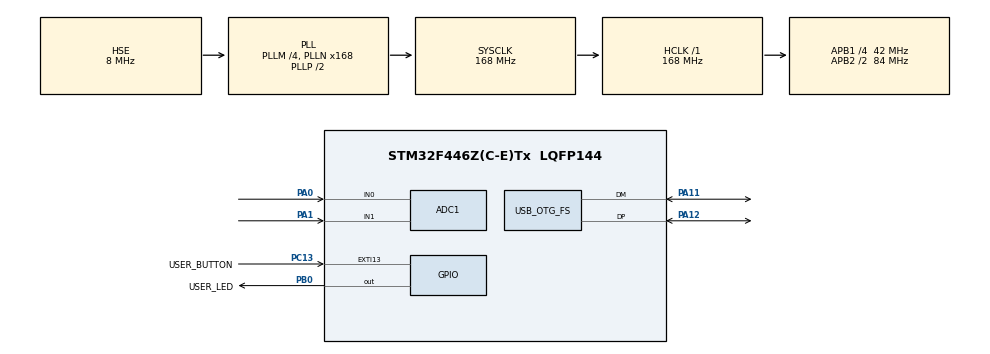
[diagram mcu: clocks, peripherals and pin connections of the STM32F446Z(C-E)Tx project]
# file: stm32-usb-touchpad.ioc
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ADC1.Channel-1\#ChannelRegularConversion=ADC_CHANNEL_0
ADC1.NbrOfConversionFlag=1
ADC1.Rank-1\#ChannelRegularConversion=1
ADC1.SamplingTime-1\#ChannelRegularConversion=ADC_SAMPLETIME_3CYCLES
ADC1.master=1
Mcu.Family=STM32F4
Mcu.Name=STM32F446Z(C-E)Tx
Mcu.Package=LQFP144
NVIC.OTG_FS_IRQn=true\:0\:0\:false\:false\:true\:false\:true\:true
NVIC.PriorityGroup=NVIC_PRIORITYGROUP_4
PA0-WKUP.Signal=ADCx_IN0
PA1.Signal=ADCx_IN1
PA11.Mode=Device_Only
PA11.Signal=USB_OTG_FS_DM
PA12.Mode=Device_Only
PA12.Signal=USB_OTG_FS_DP
PA13.Mode=Serial_Wire
PA13.Signal=SYS_JTMS-SWDIO
PA14.Mode=Serial_Wire
PA14.Signal=SYS_JTCK-SWCLK
PB0.GPIO_Label=USER_LED
PB0.Signal=GPIO_Output
PC13.GPIO_Label=USER_BUTTON
PC13.Signal=GPXTI13
PH0-OSC_IN.Mode=HSE-External-Oscillator
PH0-OSC_IN.Signal=RCC_OSC_IN
PH1-OSC_OUT.Mode=HSE-External-Oscillator
PH1-OSC_OUT.Signal=RCC_OSC_OUT
ProjectManager.HeapSize=0x200
ProjectManager.StackSize=0x400
ProjectManager.TargetToolchain=STM32CubeIDE
RCC.48MHZClocksFreq_Value=24000000
RCC.AHBFreq_Value=168000000
RCC.APB1CLKDivider=RCC_HCLK_DIV4
RCC.APB1Freq_Value=42000000
RCC.APB1TimFreq_Value=84000000
RCC.APB2CLKDivider=RCC_HCLK_DIV2
RCC.APB2Freq_Value=84000000
RCC.APB2TimFreq_Value=168000000
RCC.CortexFreq_Value=168000000
RCC.HCLKFreq_Value=168000000
RCC.HSE_VALUE=8000000
RCC.HSI_VALUE=16000000
RCC.LSE_VALUE=32768
RCC.PLLM=4
RCC.PLLMUL=RCC_PLL_MUL9
RCC.PLLN=168
RCC.PLLQ=7
RCC.PLLSourceVirtual=RCC_PLLSOURCE_HSE
RCC.PRESCALERUSB=RCC_USBCLKSOURCE_PLL_DIV1_5
RCC.SYSCLKFreq_VALUE=168000000
RCC.SYSCLKSource=RCC_SYSCLKSOURCE_PLLCLK
RCC.SYSCLKSourceVirtual=RCC_SYSCLKSOURCE_PLLCLK
RCC.USBFreq_Value=48000000
RCC.VCOOutputFreq_Value=336000000
SH.ADCx_IN0.0=ADC1_IN0,IN0
SH.ADCx_IN1.0=ADC1_IN1,IN1
TIM10.Prescaler=168-1
USB_DEVICE.CLASS_NAME_FS=CUSTOM_HID
USB_DEVICE.CUSTOM_HID_FS_BINTERVAL=5
USB_DEVICE.USBD_CUSTOMHID_OUTREPORT_BUF_SIZE-CUSTOM_HID_FS=2
USB_DEVICE.USBD_CUSTOM_HID_REPORT_DESC_SIZE-CUSTOM_HID_FS=64
USB_DEVICE.VirtualMode-CUSTOM_HID_FS=CustomHid
USB_DEVICE.VirtualModeFS=Custom_Hid_FS
USB_OTG_FS.VirtualMode=Device_Only
VP_TIM10_VS_ClockSourceINT.Mode=Enable_Timer
VP_USB_DEVICE_VS_USB_DEVICE_CUSTOM_HID_FS.Mode=CUSTOM_HID_FS
board=NUCLEO-F446ZE

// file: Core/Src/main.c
/* USER CODE BEGIN Header */
/**
  ******************************************************************************
  * @file           : main.c
  * @brief          : Main program body
  ******************************************************************************
  * @attention
  *
  * Copyright (c) 2024 STMicroelectronics.
  * All rights reserved.
  *
  * This software is licensed under terms that can be found in the LICENSE file
  * in the root directory of this software component.
  * If no LICENSE file comes with this software, it is provided AS-IS.
  *
  ******************************************************************************
  */
/* USER CODE END Header */
#include "main.h"
#include "usb_device.h"

ADC_HandleTypeDef hadc1;

TIM_HandleTypeDef htim10;

void SystemClock_Config(void);
static void MX_GPIO_Init(void);
static void MX_ADC1_Init(void);
static void MX_TIM10_Init(void);

int main(void)
{

  /* MCU Configuration--------------------------------------------------------*/

  /* Reset of all peripherals, Initializes the Flash interface and the Systick. */
  HAL_Init();

  /* Configure the system clock */
  SystemClock_Config();

  /* Initialize all configured peripherals */
  MX_GPIO_Init();
  MX_USB_DEVICE_Init();
  MX_ADC1_Init();
  MX_TIM10_Init();
  /* USER CODE BEGIN 2 */
  tp_clear();
  HAL_TIM_Base_Start(&htim10);
  int x0_i = 1847;
  int y0_i = 3947;
  int x1_i = 2247;
  int y1_i = 2047;
  int x0 = x0_i;
  int y0 = y0_i;
  int x1 = x1_i;
  int y1 = y1_i;
  int dx = 0;
  int dy = 0;

  int PANNING_DELAY = 1;
  int t = 0;
  int contact_set = 0;
  /* USER CODE END 2 */

  /* Infinite loop */
  /* USER CODE BEGIN WHILE */
  while (1)
  {

			if (HAL_GPIO_ReadPin(USER_BUTTON_GPIO_Port, USER_BUTTON_Pin))
			{
				HAL_GPIO_WritePin(USER_LED_GPIO_Port, USER_LED_Pin, GPIO_PIN_SET);
				dy = -1;
			}
			else
			{
				HAL_GPIO_WritePin(USER_LED_GPIO_Port, USER_LED_Pin, GPIO_PIN_RESET);
				dy = 0;
				tp_clear();
				tp_send_touchpad_report(get_time_100us());
				while (!HAL_GPIO_ReadPin(USER_BUTTON_GPIO_Port, USER_BUTTON_Pin));		// Wait until pressed again
			}

			x0 += dx;
			y0 += dy;
			x1 += dx;
			y1 += dy;
			if ((x0 < 0) || (y0 < 0) || (x1 < 0) || (y1 < 0) ||(x0 > TP_LOG_WIDTH) || (y0 > TP_LOG_HEIGHT) || (x1 > TP_LOG_WIDTH) || (y1 > TP_LOG_HEIGHT))
			{
				x0 = x0_i;
				y0 = y0_i;
				x1 = x1_i;
				y1 = y1_i;
				tp_reset_contact(0 + 2*contact_set);
//				tp_reset_contact(1 + 2*contact_set);
				contact_set ^= 1;
			}
			tp_set_contact(0 + 2*contact_set, x0, y0);
//			tp_set_contact(1 + 2*contact_set, x1, y1);
			tp_send_touchpad_report(t);
			delay_100us(100);
    /* USER CODE END WHILE */

  }
}

void SystemClock_Config(void)
{
  RCC_OscInitTypeDef RCC_OscInitStruct = {0};
  RCC_ClkInitTypeDef RCC_ClkInitStruct = {0};

  /** Configure the main internal regulator output voltage
  */
  __HAL_RCC_PWR_CLK_ENABLE();
  __HAL_PWR_VOLTAGESCALING_CONFIG(PWR_REGULATOR_VOLTAGE_SCALE1);

  /** Initializes the RCC Oscillators according to the specified parameters
  * in the RCC_OscInitTypeDef structure.
  */
  RCC_OscInitStruct.OscillatorType = RCC_OSCILLATORTYPE_HSE;
  RCC_OscInitStruct.HSEState = RCC_HSE_ON;
  RCC_OscInitStruct.PLL.PLLState = RCC_PLL_ON;
  RCC_OscInitStruct.PLL.PLLSource = RCC_PLLSOURCE_HSE;
  RCC_OscInitStruct.PLL.PLLM = 4;
  RCC_OscInitStruct.PLL.PLLN = 168;
  RCC_OscInitStruct.PLL.PLLP = RCC_PLLP_DIV2;
  RCC_OscInitStruct.PLL.PLLQ = 7;
  RCC_OscInitStruct.PLL.PLLR = 2;
  if (HAL_RCC_OscConfig(&RCC_OscInitStruct) != HAL_OK)
  {
    Error_Handler();
  }

  /** Initializes the CPU, AHB and APB buses clocks
  */
  RCC_ClkInitStruct.ClockType = RCC_CLOCKTYPE_HCLK|RCC_CLOCKTYPE_SYSCLK
                              |RCC_CLOCKTYPE_PCLK1|RCC_CLOCKTYPE_PCLK2;
  RCC_ClkInitStruct.SYSCLKSource = RCC_SYSCLKSOURCE_PLLCLK;
  RCC_ClkInitStruct.AHBCLKDivider = RCC_SYSCLK_DIV1;
  RCC_ClkInitStruct.APB1CLKDivider = RCC_HCLK_DIV4;
  RCC_ClkInitStruct.APB2CLKDivider = RCC_HCLK_DIV2;

  if (HAL_RCC_ClockConfig(&RCC_ClkInitStruct, FLASH_LATENCY_5) != HAL_OK)
  {
    Error_Handler();
  }
}

static void MX_ADC1_Init(void)
{

  ADC_ChannelConfTypeDef sConfig = {0};

  /** Configure the global features of the ADC (Clock, Resolution, Data Alignment and number of conversion)
  */
  hadc1.Instance = ADC1;
  hadc1.Init.ClockPrescaler = ADC_CLOCK_SYNC_PCLK_DIV4;
  hadc1.Init.Resolution = ADC_RESOLUTION_12B;
  hadc1.Init.ScanConvMode = DISABLE;
  hadc1.Init.ContinuousConvMode = DISABLE;
  hadc1.Init.DiscontinuousConvMode = DISABLE;
  hadc1.Init.ExternalTrigConvEdge = ADC_EXTERNALTRIGCONVEDGE_NONE;
  hadc1.Init.ExternalTrigConv = ADC_SOFTWARE_START;
  hadc1.Init.DataAlign = ADC_DATAALIGN_RIGHT;
  hadc1.Init.NbrOfConversion = 1;
  hadc1.Init.DMAContinuousRequests = DISABLE;
  hadc1.Init.EOCSelection = ADC_EOC_SINGLE_CONV;
  if (HAL_ADC_Init(&hadc1) != HAL_OK)
  {
    Error_Handler();
  }

  /** Configure for the selected ADC regular channel its corresponding rank in the sequencer and its sample time.
  */
  sConfig.Channel = ADC_CHANNEL_0;
  sConfig.Rank = 1;
  sConfig.SamplingTime = ADC_SAMPLETIME_3CYCLES;
  if (HAL_ADC_ConfigChannel(&hadc1, &sConfig) != HAL_OK)
  {
    Error_Handler();
  }

}

static void MX_TIM10_Init(void)
{

  htim10.Instance = TIM10;
  htim10.Init.Prescaler = 168-1;
  htim10.Init.CounterMode = TIM_COUNTERMODE_UP;
  htim10.Init.Period = 65535;
  htim10.Init.ClockDivision = TIM_CLOCKDIVISION_DIV1;
  htim10.Init.AutoReloadPreload = TIM_AUTORELOAD_PRELOAD_DISABLE;
  if (HAL_TIM_Base_Init(&htim10) != HAL_OK)
  {
    Error_Handler();
  }

}

static void MX_GPIO_Init(void)
{
  GPIO_InitTypeDef GPIO_InitStruct = {0};

  /* GPIO Ports Clock Enable */
  __HAL_RCC_GPIOC_CLK_ENABLE();
  __HAL_RCC_GPIOH_CLK_ENABLE();
  __HAL_RCC_GPIOA_CLK_ENABLE();
  __HAL_RCC_GPIOB_CLK_ENABLE();

  /*Configure GPIO pin Output Level */
  HAL_GPIO_WritePin(USER_LED_GPIO_Port, USER_LED_Pin, GPIO_PIN_RESET);

  /*Configure GPIO pin : USER_BUTTON_Pin */
  GPIO_InitStruct.Pin = USER_BUTTON_Pin;
  GPIO_InitStruct.Mode = GPIO_MODE_IT_RISING;
  GPIO_InitStruct.Pull = GPIO_NOPULL;
  HAL_GPIO_Init(USER_BUTTON_GPIO_Port, &GPIO_InitStruct);

  /*Configure GPIO pin : USER_LED_Pin */
  GPIO_InitStruct.Pin = USER_LED_Pin;
  GPIO_InitStruct.Mode = GPIO_MODE_OUTPUT_PP;
  GPIO_InitStruct.Pull = GPIO_NOPULL;
  GPIO_InitStruct.Speed = GPIO_SPEED_FREQ_LOW;
  HAL_GPIO_Init(USER_LED_GPIO_Port, &GPIO_InitStruct);

}

/* USER CODE BEGIN 4 */

uint16_t get_time_100us(void)
{
	return __HAL_TIM_GET_COUNTER(&htim10) / 100;
}

// 655 max
void delay_100us(uint16_t delay)
{
	int t_0 = __HAL_TIM_GET_COUNTER(&htim10);
	while (__HAL_TIM_GET_COUNTER(&htim10) - t_0 < delay * 100);
}

void move(uint16_t xi, uint16_t yi, uint16_t dx, uint16_t dy, uint16_t dt, int n_tot)
{
	int yj = yi + 1000;
	for (int n = 0; n <= n_tot; n++)
	{
		tp_set_contact(3, xi+dx*n, yi+dy*n);
//		tp_set_contact(4, xi+dx*n, yj+dy*n);
		delay_100us(dt);
		tp_send_touchpad_report(get_time_100us());
	}
	tp_clear();
	tp_send_touchpad_report(get_time_100us());
}

void rclick(void)
{
	tp_set_reset_buttons(2, 0, 1);
	tp_update(HAL_GetTick());
	HAL_Delay(2);
	tp_set_reset_buttons(2, 0, 0);
	tp_update(HAL_GetTick());
}
/* USER CODE END 4 */

void Error_Handler(void)
{
  __disable_irq();
  while (1)
  {
  }
}
